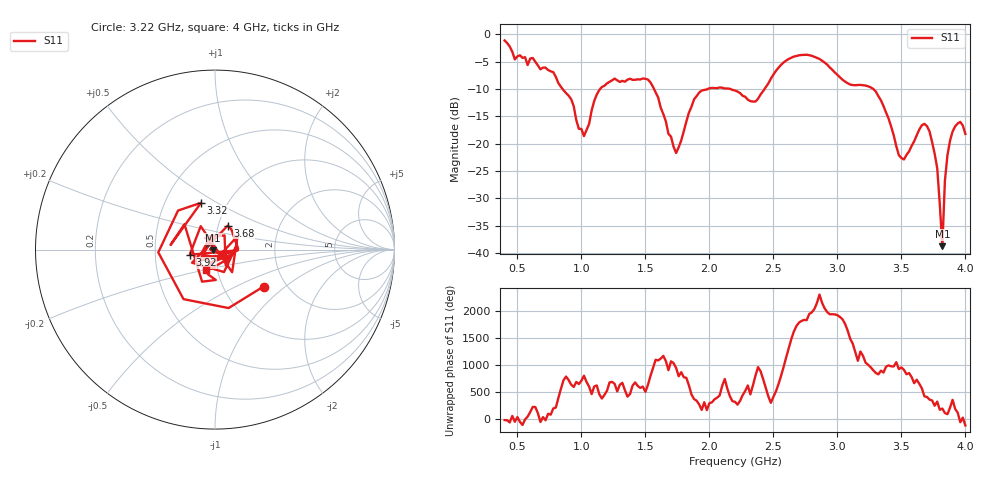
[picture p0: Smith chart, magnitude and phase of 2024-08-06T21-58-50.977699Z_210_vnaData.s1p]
!Created with skrf (http://scikit-rf.org).
# Hz S RI R 50.0
!freq ReS11 ImS11
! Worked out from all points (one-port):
!   181 points, 400 MHz to 4 GHz, reference 50 ohm
!   lowest |S11| = -38.8 dB at 3.82 GHz (marker M1), VSWR 1.02, Z = 48.9 - j0.336 ohm
!   |S11| at or under -10 dB: 852.9 MHz to 1.147 GHz (294.1 MHz wide, 29.4 % of centre); 1.567 GHz to 1.989 GHz (421.5 MHz wide, 23.7 % of centre); 3.28 GHz to end of sweep (the widest 3 of 4)
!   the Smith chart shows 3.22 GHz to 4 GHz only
!   S11 on the Smith chart (normalised r, x): 3.22 GHz: 1.54, -0.72; 3.32 GHz: 0.75, +0.42; 3.68 GHz: 1.11, +0.30; 3.92 GHz: 0.75, -0.04; 4 GHz: 0.89, -0.20
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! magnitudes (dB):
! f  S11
! 400 MHz  -1.1
! 480 MHz  -4.6
! 620 MHz  -4.3
! 860 MHz  -10.2
! 1.02 GHz  -18.6
! 1.14 GHz  -10.2
! 1.3 GHz  -8.7
! 1.52 GHz  -8.3
! 1.74 GHz  -21.7
! 1.76 GHz  -20.7
! 1.92 GHz  -10.7
! 2.2 GHz  -10.3
! 2.36 GHz  -12.3
! 2.66 GHz  -4.1
! 2.86 GHz  -4.5
! 3.1 GHz  -9.2
! 3.22 GHz  -9.4
! 3.32 GHz  -11.3
! 3.48 GHz  -22.1
! 3.56 GHz  -21.4
! 3.68 GHz  -16.4
! 3.72 GHz  -17.8
! 3.78 GHz  -24.5
! 3.82 GHz  -38.8
! 3.84 GHz  -26.8
! 3.86 GHz  -22.1
! 3.92 GHz  -16.8
! 4 GHz  -18.2
